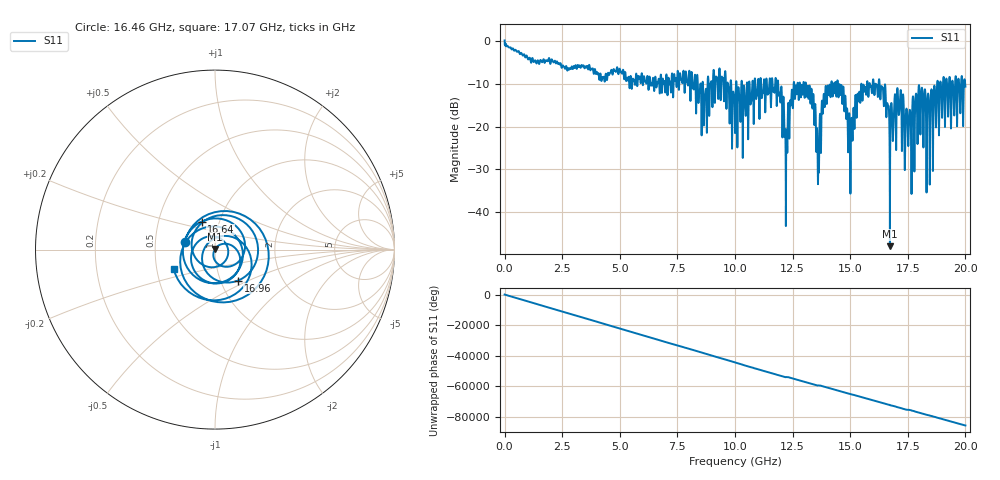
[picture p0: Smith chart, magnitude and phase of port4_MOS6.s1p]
! MS46122B
! 2250307/22442219
! 6/16/2025 12:54:01 PM
! C:\USERS\SPARKY\DOCUMENTS\VNA_DATA\JUNE16_2025\295K\PORT4_MOS6.S1P
! CHANNEL.1
! TR.MEASUREMENT
! RAW.DATA
# GHZ S RI R 50.0
! FREQ.GHZ  S11RE  S11IM
!; PortSelection: Port_1
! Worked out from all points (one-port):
!   10001 points, 1 MHz to 20 GHz, reference 50 ohm
!   lowest |S11| = -48.0 dB at 16.72 GHz (marker M1), VSWR 1.01, Z = 50 + j0.398 ohm
!   |S11| at or under -10 dB: 13.08 GHz to 14.18 GHz (1.1 GHz wide, 8.07 % of centre); 14.47 GHz to 15.48 GHz (1.014 GHz wide, 6.77 % of centre); 16.28 GHz to 18.77 GHz (2.497 GHz wide, 14.2 % of centre) (the widest 3 of 76)
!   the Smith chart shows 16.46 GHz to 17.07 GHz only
!   S11 on the Smith chart (normalised r, x): 16.46 GHz: 0.71, +0.06; 16.64 GHz: 0.82, +0.26; 16.96 GHz: 1.21, -0.44; 17.07 GHz: 0.61, -0.14
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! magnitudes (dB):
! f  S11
! 1 MHz  0.2
! 2.501 GHz  -5.9
! 5.001 GHz  -6.5
! 7.501 GHz  -7.4
! 8.711 GHz  -12.3
! 9.395 GHz  -11.2
! 10 GHz  -20.8
! 11.69 GHz  -11.1
! 11.94 GHz  -12.3
! 12.22 GHz  -25.4
! 12.5 GHz  -14.5
! 13.31 GHz  -11.1
! 13.63 GHz  -29.0
! 13.86 GHz  -12.5
! 14.53 GHz  -10.2
! 15 GHz  -26.8
! 15.56 GHz  -11.0
! 16.46 GHz  -15.2
! 16.64 GHz  -15.2
! 16.72 GHz  -48.0
! 16.96 GHz  -13.4
! 17.07 GHz  -11.9
! 17.5 GHz  -21.2
! 17.72 GHz  -13.0
! 18.05 GHz  -21.8
! 18.38 GHz  -12.2
! 18.72 GHz  -20.1
! 20 GHz  -10.6
